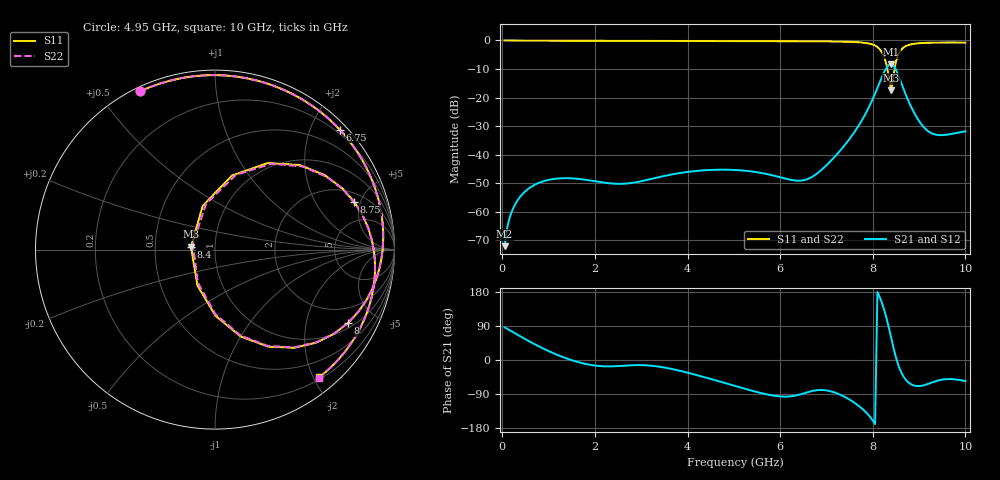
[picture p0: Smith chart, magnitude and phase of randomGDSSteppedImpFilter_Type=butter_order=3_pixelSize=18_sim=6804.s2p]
! freq	dB(S11)	phase(S11)	dB(S12)	phase(S12)
!  dB(S21)	phase(S21)	dB(S22)	phase(S22)
!S-par simulation data
#  GHz  S  DB  R 50
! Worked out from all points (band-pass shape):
!   200 points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, 50 MHz to 10 GHz, reference 50 ohm
!   highest |S21| = -8.31 dB at 8.4 GHz (marker M1); lowest = -72.1 dB at 50 MHz (marker M2)
!   |S21| within 3 dB of the highest: 8.24 GHz to 8.529 GHz (289.1 MHz wide, 3.45 % of centre)
!   lowest |S11| = -17.4 dB at 8.4 GHz (marker M3), VSWR 1.31, Z = 38.2 + j1.29 ohm
!   |S11| at or under -10 dB: 8.315 GHz to 8.472 GHz (156.6 MHz wide, 1.87 % of centre)
!   |S22| runs from -17.9 to 0.0 dB; largest |S21 - S12| = 0
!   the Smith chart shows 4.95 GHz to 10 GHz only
!   S11 on the Smith chart (normalised r, x): 4.95 GHz: 0.02, +0.63; 6.75 GHz: 0.13, +2.47; 8 GHz: 1.21, -3.48; 8.4 GHz: 0.76, +0.03; 8.75 GHz: 2.71, +4.40; 10 GHz: 0.23, -2.09
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0.05  -0.00 -3.6  -72.07 86.3  -72.07 86.3  -0.00 -3.6
0.2  -0.02 -14.5  -60.15 75.6  -60.15 75.6  -0.02 -14.5
0.5  -0.05 -35.6  -52.80 54.8  -52.80 54.8  -0.05 -35.6
1.1  -0.09 -75.0  -48.54 18.0  -48.54 18.0  -0.09 -75.0
1.75  -0.12 -112.0  -48.71 -9.1  -48.71 -9.1  -0.12 -112.0
2.55  -0.14 -150.3  -50.23 -15.7  -50.23 -15.7  -0.14 -150.3
3.4  -0.16 174.4  -47.82 -17.9  -47.82 -17.9  -0.16 174.4
4.15  -0.19 145.5  -45.78 -38.2  -45.78 -38.2  -0.19 145.6
4.95  -0.22 115.3  -45.33 -65.8  -45.33 -65.8  -0.22 115.3
5.05  -0.22 111.5  -45.40 -69.4  -45.40 -69.4  -0.22 111.5
5.9  -0.26 78.6  -47.51 -94.8  -47.51 -94.8  -0.26 78.6
6.7  -0.31 46.1  -47.70 -81.6  -47.70 -81.6  -0.31 46.1
6.75  -0.32 43.9  -47.17 -80.5  -47.17 -80.5  -0.32 44.0
7.55  -0.52 5.9  -33.35 -108.4  -33.35 -108.4  -0.52 6.1
8  -1.45 -29.0  -20.48 -159.7  -20.48 -159.7  -1.45 -28.7
8.2  -4.21 -61.3  -12.73 149.9  -12.73 149.9  -4.24 -61.2
8.35  -13.08 -116.4  -8.56 83.8  -8.56 83.8  -13.63 -117.3
8.4  -17.42 172.9  -8.31 57.4  -8.31 57.4  -17.90 165.6
8.55  -4.95 58.6  -12.11 -13.1  -12.11 -13.1  -4.83 56.7
8.75  -1.72 18.9  -20.44 -57.1  -20.44 -57.1  -1.69 18.0
9.25  -0.78 -18.9  -32.35 -60.4  -32.35 -60.4  -0.78 -19.2
10  -0.74 -50.7  -31.81 -55.7  -31.81 -55.7  -0.74 -50.9
